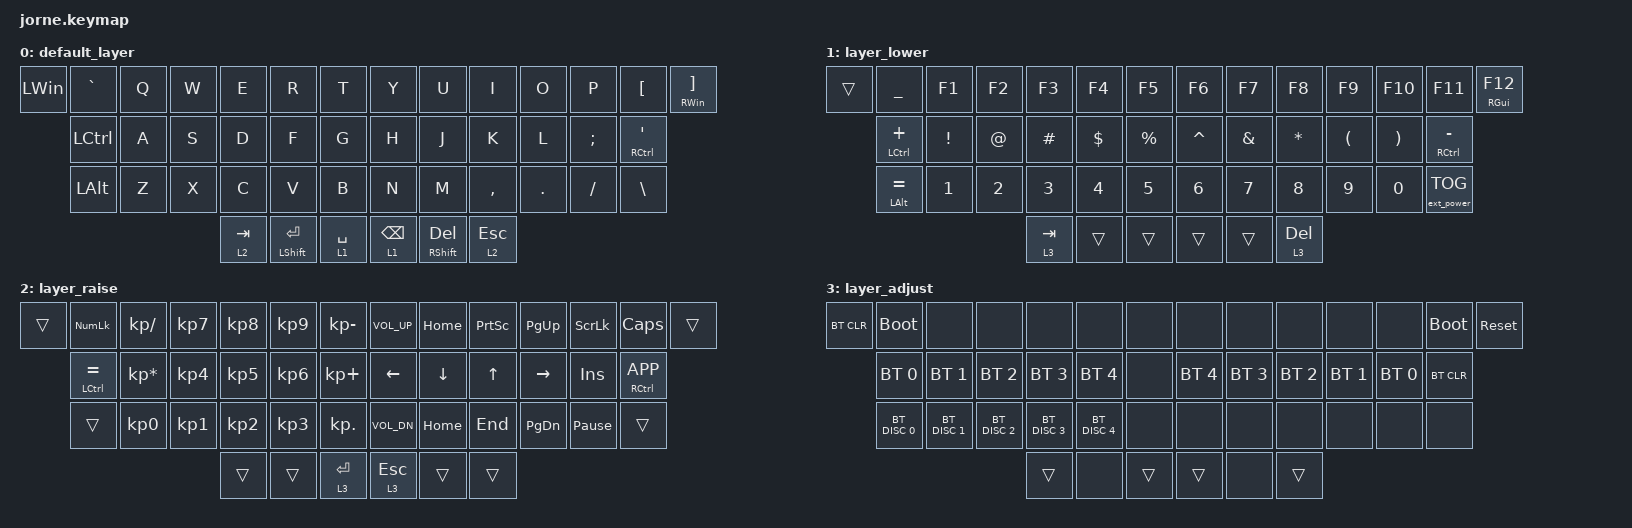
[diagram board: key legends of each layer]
/*
 * Copyright (c) 2020 The ZMK Contributors
 *
 * SPDX-License-Identifier: MIT
 */
/* THIS FILE WAS GENERATED!
 *
 * This file was generated automatically. You may or may not want to
 * edit it directly.
 */

#include <behaviors.dtsi>
#include <dt-bindings/zmk/bt.h>
#include <dt-bindings/zmk/ext_power.h>
#include <dt-bindings/zmk/keys.h>

/ {
    combos { compatible = "zmk,combos"; };

    keymap {
        compatible = "zmk,keymap";

        default_layer {
            bindings = <
&kp LWIN  &kp GRAVE  &kp Q  &kp W  &kp E      &kp R            &kp T        &kp Y            &kp U             &kp I         &kp O    &kp P     &kp LBKT       &mt RWIN RBKT
          &kp LCTRL  &kp A  &kp S  &kp D      &kp F            &kp G        &kp H            &kp J             &kp K         &kp L    &kp SEMI  &mt RCTRL SQT
          &kp LALT   &kp Z  &kp X  &kp C      &kp V            &kp B        &kp N            &kp M             &kp COMMA     &kp DOT  &kp FSLH  &kp BSLH
                                   &lt 2 TAB  &mt LSHFT ENTER  &lt 1 SPACE  &lt 1 BACKSPACE  &mt RSHFT DELETE  &lt 2 ESCAPE
            >;
        };

        layer_lower {
            bindings = <
&trans  &kp UNDER       &kp F1    &kp F2  &kp F3     &kp F4    &kp F5     &kp F6     &kp F7    &kp F8     &kp F9    &kp F10   &kp F11            &mt RGUI F12
        &mt LCTRL PLUS  &kp EXCL  &kp AT  &kp HASH   &kp DLLR  &kp PRCNT  &kp CARET  &kp AMPS  &kp STAR   &kp LPAR  &kp RPAR  &mt RCTRL MINUS
        &mt LALT EQUAL  &kp N1    &kp N2  &kp N3     &kp N4    &kp N5     &kp N6     &kp N7    &kp N8     &kp N9    &kp N0    &ext_power EP_TOG
                                          &lt 3 TAB  &trans    &trans     &trans     &trans    &lt 3 DEL
            >;
        };

        layer_raise {
            bindings = <
&trans  &kp KP_NUM       &kp KP_SLASH     &kp KP_N7  &kp KP_N8  &kp KP_N9  &kp KP_MINUS  &kp C_VOL_UP  &kp HOME  &kp PSCRN  &kp PG_UP  &kp SLCK         &kp CAPS         &trans
        &mt LCTRL EQUAL  &kp KP_MULTIPLY  &kp KP_N4  &kp KP_N5  &kp KP_N6  &kp KP_PLUS   &kp LEFT      &kp DOWN  &kp UP     &kp RIGHT  &kp INS          &mt RCTRL K_APP
        &trans           &kp KP_N0        &kp KP_N1  &kp KP_N2  &kp KP_N3  &kp KP_DOT    &kp C_VOL_DN  &kp HOME  &kp END    &kp PG_DN  &kp PAUSE_BREAK  &trans
                                                     &trans     &trans     &lt 3 RET     &lt 3 ESC     &trans    &trans
            >;
        };

        layer_adjust {
            bindings = <
&bt BT_CLR  &bootloader    &none          &none          &none          &none          &none   &none         &none         &none         &none         &none         &bootloader  &sys_reset
            &bt BT_SEL 0   &bt BT_SEL 1   &bt BT_SEL 2   &bt BT_SEL 3   &bt BT_SEL 4   &none   &bt BT_SEL 4  &bt BT_SEL 3  &bt BT_SEL 2  &bt BT_SEL 1  &bt BT_SEL 0  &bt BT_CLR
            &bt BT_DISC 0  &bt BT_DISC 1  &bt BT_DISC 2  &bt BT_DISC 3  &bt BT_DISC 4  &none   &none         &none         &none         &none         &none         &none
                                                         &trans         &none          &trans  &trans        &none         &trans
            >;
        };
    };
};
